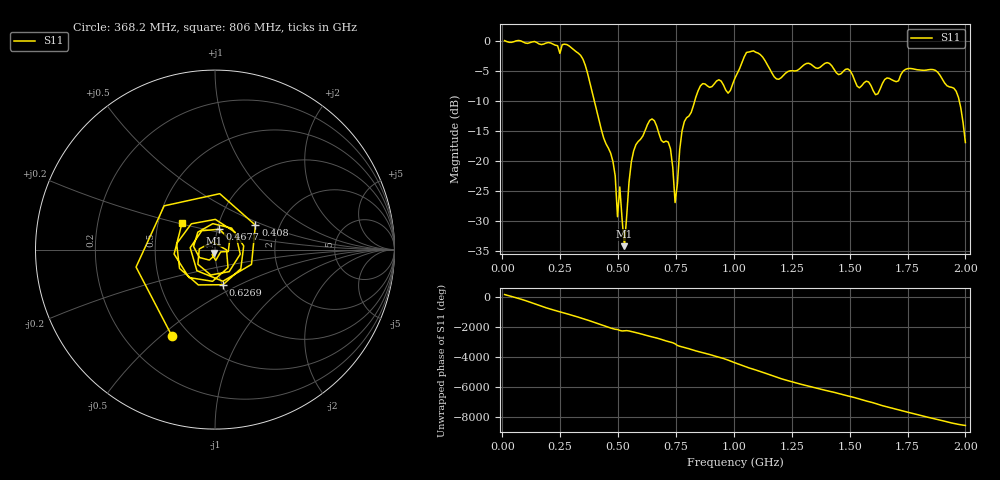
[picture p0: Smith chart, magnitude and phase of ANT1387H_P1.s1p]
!Created with skrf (http://scikit-rf.org).
# Hz S RI R 50.0
!freq ReS11 ImS11
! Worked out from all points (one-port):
!   201 points, 10 MHz to 2 GHz, reference 50 ohm
!   lowest |S11| = -34.3 dB at 527.4 MHz (marker M1), VSWR 1.04, Z = 49.3 - j1.78 ohm
!   |S11| at or under -10 dB: 397.4 MHz to 831.1 MHz (433.7 MHz wide, 70.6 % of centre); 1.974 GHz to end of sweep
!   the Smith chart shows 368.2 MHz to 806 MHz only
!   S11 on the Smith chart (normalised r, x): 368.2 MHz: 0.40, -0.55; 408 MHz: 1.50, +0.44; 467.7 MHz: 1.02, +0.24; 626.9 MHz: 1.01, -0.41; 806 MHz: 0.66, +0.21
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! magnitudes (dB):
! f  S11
! 10 MHz  0.1
! 258.8 MHz  -0.6
! 368.2 MHz  -5.4
! 408 MHz  -11.6
! 467.7 MHz  -18.7
! 487.6 MHz  -22.5
! 497.6 MHz  -29.3
! 507.5 MHz  -24.4
! 527.4 MHz  -34.3
! 557.2 MHz  -20.2
! 626.9 MHz  -14.0
! 716.5 MHz  -16.9
! 736.4 MHz  -21.1
! 746.3 MHz  -27.0
! 756.2 MHz  -23.8
! 776.1 MHz  -15.0
! 806 MHz  -12.5
! 865.7 MHz  -7.1
! 975.1 MHz  -8.7
! 1.005 GHz  -6.2
! 1.085 GHz  -1.6
! 1.184 GHz  -6.3
! 1.254 GHz  -5.0
! 1.502 GHz  -5.0
! 1.612 GHz  -8.9
! 1.751 GHz  -4.6
! 1.95 GHz  -7.9
! 2 GHz  -16.9
